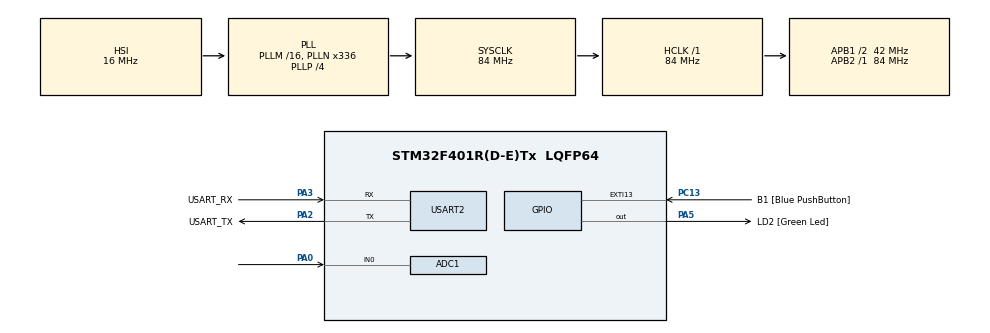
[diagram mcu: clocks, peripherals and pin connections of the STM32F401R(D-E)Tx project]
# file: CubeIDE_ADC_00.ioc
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Mcu.Family=STM32F4
PC15-OSC32_OUT.Mode=LSE-External-Oscillator
PA2.GPIO_PuPd=GPIO_NOPULL
RCC.CortexFreq_Value=84000000
ADC1.Rank-0\#ChannelRegularConversion=1
PC13-ANTI_TAMP.GPIO_PuPd=GPIO_NOPULL
PC13-ANTI_TAMP.GPIO_Label=B1 [Blue PushButton]
PA14.GPIO_Label=TCK
PA3.GPIO_PuPd=GPIO_NOPULL
PH1\ -\ OSC_OUT.Mode=HSE-External-Clock-Source
PA2.GPIO_Speed=GPIO_SPEED_FREQ_LOW
RCC.APB1CLKDivider=RCC_HCLK_DIV2
PC14-OSC32_IN.Signal=RCC_OSC32_IN
PA3.GPIO_Speed=GPIO_SPEED_FREQ_LOW
RCC.SYSCLKSource=RCC_SYSCLKSOURCE_PLLCLK
ProjectManager.StackSize=0x400
PA0-WKUP.Signal=ADCx_IN0
PA13.Signal=SYS_JTMS-SWDIO
PA3.Mode=Asynchronous
PH0\ -\ OSC_IN.Mode=HSE-External-Clock-Source
PH0\ -\ OSC_IN.Signal=RCC_OSC_IN
ProjectManager.TargetToolchain=STM32CubeIDE
PA3.GPIO_Mode=GPIO_MODE_AF_PP
RCC.HCLKFreq_Value=84000000
RCC.APB2TimFreq_Value=84000000
PC15-OSC32_OUT.Signal=RCC_OSC32_OUT
RCC.AHBFreq_Value=84000000
PA5.Signal=GPIO_Output
ADC1.Channel-0\#ChannelRegularConversion=ADC_CHANNEL_0
RCC.HSE_VALUE=8000000
PH1\ -\ OSC_OUT.Signal=RCC_OSC_OUT
board=NUCLEO-F401RE
PC13-ANTI_TAMP.Signal=GPXTI13
RCC.VCOOutputFreq_Value=336000000
RCC.APB2Freq_Value=84000000
PC14-OSC32_IN.Mode=LSE-External-Oscillator
PA14.Mode=Serial_Wire
PA5.GPIO_PuPd=GPIO_NOPULL
SH.ADCx_IN0.0=ADC1_IN0,IN0
PA13.Mode=Serial_Wire
Mcu.Name=STM32F401R(D-E)Tx
ADC1.SamplingTime-0\#ChannelRegularConversion=ADC_SAMPLETIME_3CYCLES
PA2.Signal=USART2_TX
PA13.GPIO_Label=TMS
RCC.48MHZClocksFreq_Value=48000000
PB3.Signal=SYS_JTDO-SWO
RCC.SYSCLKFreq_VALUE=84000000
Mcu.Package=LQFP64
ADC1.master=1
PA5.GPIO_Label=LD2 [Green Led]
USART2.VirtualMode=VM_ASYNC
PC13-ANTI_TAMP.GPIO_ModeDefaultEXTI=GPIO_MODE_IT_FALLING
PA2.GPIO_Label=USART_TX
PA14.Signal=SYS_JTCK-SWCLK
ProjectManager.HeapSize=0x200
RCC.HSI_VALUE=16000000
RCC.PLLP=RCC_PLLP_DIV4
PA5.GPIO_Speed=GPIO_SPEED_FREQ_LOW
RCC.PLLQ=7
NVIC.PriorityGroup=NVIC_PRIORITYGROUP_0
ADC1.NbrOfConversionFlag=1
RCC.PLLN=336
RCC.APB1TimFreq_Value=84000000
PA2.Mode=Asynchronous
RCC.APB1Freq_Value=42000000
PA5.GPIO_Mode=GPIO_MODE_OUTPUT_PP
PA3.GPIO_Label=USART_RX
PA3.Signal=USART2_RX
PA2.GPIO_Mode=GPIO_MODE_AF_PP
PB3.GPIO_Label=SWO

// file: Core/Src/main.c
/* USER CODE BEGIN Header */
/**
  ******************************************************************************
  * @file           : main.c
  * @brief          : Main program body
  ******************************************************************************
  * @attention
  *
  * <h2><center>&copy; Copyright (c) 2021 STMicroelectronics.
  * All rights reserved.</center></h2>
  *
  * This software component is licensed by ST under BSD 3-Clause license,
  * the "License"; You may not use this file except in compliance with the
  * License. You may obtain a copy of the License at:
  *                        opensource.org/licenses/BSD-3-Clause
  *
  ******************************************************************************
  */
/* USER CODE END Header */
#include "main.h"

/* USER CODE BEGIN Includes */
#include "stdio.h"
#include "string.h"
/* USER CODE END Includes */

ADC_HandleTypeDef hadc1;

UART_HandleTypeDef huart2;

void SystemClock_Config(void);
static void MX_GPIO_Init(void);
static void MX_USART2_UART_Init(void);
static void MX_ADC1_Init(void);

int main(void)
{
  /* USER CODE BEGIN 1 */
	unsigned char tmp_ch[100];
	uint32_t SS0;
  /* USER CODE END 1 */

  /* MCU Configuration--------------------------------------------------------*/

  /* Reset of all peripherals, Initializes the Flash interface and the Systick. */
  HAL_Init();

  /* Configure the system clock */
  SystemClock_Config();

  /* Initialize all configured peripherals */
  MX_GPIO_Init();
  MX_USART2_UART_Init();
  MX_ADC1_Init();

  /* Infinite loop */
  /* USER CODE BEGIN WHILE */
  while (1)
  {
<<<<<<< HEAD
	HAL_ADC_Start(&hadc1);
	SS0 = HAL_ADC_GetValue(&hadc1);
	sprintf(&tmp_ch,"%d \n",SS0);
	HAL_UART_Transmit(&huart2, tmp_ch,strlen(tmp_ch), 1000);
	HAL_Delay(100);
=======
	//Make some PWM from GPIO PA5, Start with state HIGH
	HAL_GPIO_WritePin(GPIOA, GPIO_PIN_5, GPIO_PIN_SET);
	//Start to read ADC with out DMA
	HAL_ADC_Start(&hadc1);
	// Check Have the ADC complete yet?
	HAL_ADC_PollForConversion(&hadc1, 1);
	SS0 = HAL_ADC_GetValue(&hadc1);
	// After ADC complete Set PA5 to state LOW
	HAL_GPIO_WritePin(GPIOA, GPIO_PIN_5, GPIO_PIN_RESET);

	sprintf(&tmp_ch,"%d \n",SS0);
	HAL_UART_Transmit(&huart2, tmp_ch,strlen(tmp_ch), 1000);
	HAL_Delay(1);
>>>>>>> teaching_wk10
    /* USER CODE END WHILE */

  }
}

void SystemClock_Config(void)
{
  RCC_OscInitTypeDef RCC_OscInitStruct = {0};
  RCC_ClkInitTypeDef RCC_ClkInitStruct = {0};

  /** Configure the main internal regulator output voltage
  */
  __HAL_RCC_PWR_CLK_ENABLE();
  __HAL_PWR_VOLTAGESCALING_CONFIG(PWR_REGULATOR_VOLTAGE_SCALE2);
  /** Initializes the RCC Oscillators according to the specified parameters
  * in the RCC_OscInitTypeDef structure.
  */
  RCC_OscInitStruct.OscillatorType = RCC_OSCILLATORTYPE_HSI;
  RCC_OscInitStruct.HSIState = RCC_HSI_ON;
  RCC_OscInitStruct.HSICalibrationValue = RCC_HSICALIBRATION_DEFAULT;
  RCC_OscInitStruct.PLL.PLLState = RCC_PLL_ON;
  RCC_OscInitStruct.PLL.PLLSource = RCC_PLLSOURCE_HSI;
  RCC_OscInitStruct.PLL.PLLM = 16;
  RCC_OscInitStruct.PLL.PLLN = 336;
  RCC_OscInitStruct.PLL.PLLP = RCC_PLLP_DIV4;
  RCC_OscInitStruct.PLL.PLLQ = 7;
  if (HAL_RCC_OscConfig(&RCC_OscInitStruct) != HAL_OK)
  {
    Error_Handler();
  }
  /** Initializes the CPU, AHB and APB buses clocks
  */
  RCC_ClkInitStruct.ClockType = RCC_CLOCKTYPE_HCLK|RCC_CLOCKTYPE_SYSCLK
                              |RCC_CLOCKTYPE_PCLK1|RCC_CLOCKTYPE_PCLK2;
  RCC_ClkInitStruct.SYSCLKSource = RCC_SYSCLKSOURCE_PLLCLK;
  RCC_ClkInitStruct.AHBCLKDivider = RCC_SYSCLK_DIV1;
  RCC_ClkInitStruct.APB1CLKDivider = RCC_HCLK_DIV2;
  RCC_ClkInitStruct.APB2CLKDivider = RCC_HCLK_DIV1;

  if (HAL_RCC_ClockConfig(&RCC_ClkInitStruct, FLASH_LATENCY_2) != HAL_OK)
  {
    Error_Handler();
  }
}

static void MX_ADC1_Init(void)
{

  ADC_ChannelConfTypeDef sConfig = {0};

  /** Configure the global features of the ADC (Clock, Resolution, Data Alignment and number of conversion)
  */
  hadc1.Instance = ADC1;
  hadc1.Init.ClockPrescaler = ADC_CLOCK_SYNC_PCLK_DIV4;
  hadc1.Init.Resolution = ADC_RESOLUTION_12B;
  hadc1.Init.ScanConvMode = DISABLE;
  hadc1.Init.ContinuousConvMode = DISABLE;
  hadc1.Init.DiscontinuousConvMode = DISABLE;
  hadc1.Init.ExternalTrigConvEdge = ADC_EXTERNALTRIGCONVEDGE_NONE;
  hadc1.Init.ExternalTrigConv = ADC_SOFTWARE_START;
  hadc1.Init.DataAlign = ADC_DATAALIGN_RIGHT;
  hadc1.Init.NbrOfConversion = 1;
  hadc1.Init.DMAContinuousRequests = DISABLE;
  hadc1.Init.EOCSelection = ADC_EOC_SINGLE_CONV;
  if (HAL_ADC_Init(&hadc1) != HAL_OK)
  {
    Error_Handler();
  }
  /** Configure for the selected ADC regular channel its corresponding rank in the sequencer and its sample time.
  */
  sConfig.Channel = ADC_CHANNEL_0;
  sConfig.Rank = 1;
  sConfig.SamplingTime = ADC_SAMPLETIME_3CYCLES;
  if (HAL_ADC_ConfigChannel(&hadc1, &sConfig) != HAL_OK)
  {
    Error_Handler();
  }

}

static void MX_USART2_UART_Init(void)
{

  huart2.Instance = USART2;
  huart2.Init.BaudRate = 115200;
  huart2.Init.WordLength = UART_WORDLENGTH_8B;
  huart2.Init.StopBits = UART_STOPBITS_1;
  huart2.Init.Parity = UART_PARITY_NONE;
  huart2.Init.Mode = UART_MODE_TX_RX;
  huart2.Init.HwFlowCtl = UART_HWCONTROL_NONE;
  huart2.Init.OverSampling = UART_OVERSAMPLING_16;
  if (HAL_UART_Init(&huart2) != HAL_OK)
  {
    Error_Handler();
  }

}

static void MX_GPIO_Init(void)
{
  GPIO_InitTypeDef GPIO_InitStruct = {0};

  /* GPIO Ports Clock Enable */
  __HAL_RCC_GPIOC_CLK_ENABLE();
  __HAL_RCC_GPIOH_CLK_ENABLE();
  __HAL_RCC_GPIOA_CLK_ENABLE();
  __HAL_RCC_GPIOB_CLK_ENABLE();

  /*Configure GPIO pin Output Level */
  HAL_GPIO_WritePin(LD2_GPIO_Port, LD2_Pin, GPIO_PIN_RESET);

  /*Configure GPIO pin : B1_Pin */
  GPIO_InitStruct.Pin = B1_Pin;
  GPIO_InitStruct.Mode = GPIO_MODE_IT_FALLING;
  GPIO_InitStruct.Pull = GPIO_NOPULL;
  HAL_GPIO_Init(B1_GPIO_Port, &GPIO_InitStruct);

  /*Configure GPIO pin : LD2_Pin */
  GPIO_InitStruct.Pin = LD2_Pin;
  GPIO_InitStruct.Mode = GPIO_MODE_OUTPUT_PP;
  GPIO_InitStruct.Pull = GPIO_NOPULL;
  GPIO_InitStruct.Speed = GPIO_SPEED_FREQ_LOW;
  HAL_GPIO_Init(LD2_GPIO_Port, &GPIO_InitStruct);

}

void Error_Handler(void)
{
  __disable_irq();
  while (1)
  {
  }
}

/************************ (C) COPYRIGHT STMicroelectronics *****END OF FILE****/
